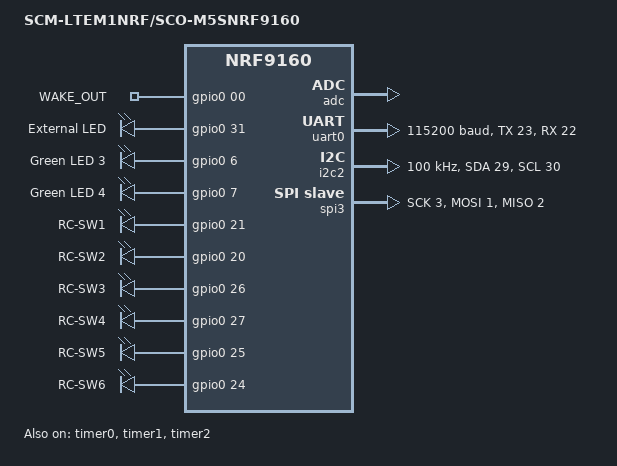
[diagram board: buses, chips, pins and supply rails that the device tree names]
/*
 * Copyright (c) 2018-2020 Nordic Semiconductor ASA
 *
 * SPDX-License-Identifier: Apache-2.0
 */

/ {
	model = "SCM-LTEM1NRF/SCO-M5SNRF9160";
	compatible = "nordic,nrf9160-dk-nrf9160";

	chosen {
		zephyr,console = &uart0;
		zephyr,shell-uart = &uart0;
		zephyr,uart-mcumgr = &uart0;
	};

	leds {
		compatible = "gpio-leds";
		led0: led_0 {
			gpios = <&gpio0 00 0>;
			label = "WAKE_OUT";
		};
		
		/* External LED */
		led1: led_1 {
			gpios = <&gpio0 31 0>;
			label = "External LED";
		};
		/* OnBoard LED ST-A(L) */
		led2: led_2 {
			gpios = <&gpio0 6 0>;
			label = "Green LED 3";
		};
		/* OnBoard LED ST-B(R) */
		led3: led_3 {
			gpios = <&gpio0 7 0>;
			label = "Green LED 4";
		};
		/* RC-SW1 (WAKE_IN) */
		led4: led_4 {
			gpios = <&gpio0 21 0>;
			label = "RC-SW1";
		};
		/* RC-SW2 (WAKE_OUT) */
		led5: led_5 {
			gpios = <&gpio0 20 0>;
			label = "RC-SW2";
		};
		/* RC-SW3 (GPIO_0) */
		led6: led_6 {
			gpios = <&gpio0 26 0>;
			label = "RC-SW3";
		};
		/* RC-SW4 (GPIO_1) */
		led7: led_7 {
			gpios = <&gpio0 27 0>;
			label = "RC-SW4";
		};
		/* RC-SW5 (UART_RST) */
		led8: led_8 {
			gpios = <&gpio0 25 0>;
			label = "RC-SW5";
		};
		/* RC-SW6 (UART_CTS) */
		led9: led_9 {
			gpios = <&gpio0 24 0>;
			label = "RC-SW6";
		};
	};

	/* These aliases are provided for compatibility with samples */
	aliases {
		led0 = &led0;
		led1 = &led1;
		led2 = &led2;
		led3 = &led3;

		led4 = &led4;
		led5 = &led5;
		led6 = &led6;
		led7 = &led7;
		led8 = &led8;
		led9 = &led9;
	};
};

&adc {
	status = "okay";
};

&gpiote {
	status = "okay";
};

&gpio0 {
	status = "okay";
};

&uart0 {
	status = "okay";
	current-speed = <115200>;
	tx-pin = <23>;
	rx-pin = <22>;
/*	rts-pin = <25>; */
/*	cts-pin = <24>; */
};

&i2c2 {
	compatible = "nordic,nrf-twim";
	status = "okay";
	sda-pin = <29>;
	scl-pin = <30>;
	clock-frequency = <100000>;
};

&spi3 {
	compatible = "nordic,nrf-spis";
	status = "okay";
	sck-pin = <3>;
	mosi-pin = <1>;
	miso-pin = <2>;
	csn-pin = <4>;
	def-char = <0x20>;
};

&timer0 {
	status = "okay";
};

&timer1 {
	status = "okay";
};

&timer2 {
	status = "okay";
};

&flash0 {
	/*
	 * For more information, see:
	 * http://docs.zephyrproject.org/latest/guides/dts/index.html#flash-partitions
	 */
	partitions {
		compatible = "fixed-partitions";
		#address-cells = <1>;
		#size-cells = <1>;

		boot_partition: partition@0 {
			label = "mcuboot";
			reg = <0x00000000 0x10000>;
		};
		slot0_partition: partition@10000 {
			label = "image-0";
		};
		slot0_ns_partition: partition@40000 {
			label = "image-0-nonsecure";
		};
		slot1_partition: partition@80000 {
			label = "image-1";
		};
		slot1_ns_partition: partition@b0000 {
			label = "image-1-nonsecure";
		};
		scratch_partition: partition@f0000 {
			label = "image-scratch";
			reg = <0x000f0000 0xa000>;
		};
		storage_partition: partition@fa000 {
			label = "storage";
			reg = <0x000fa000 0x00006000>;
		};
	};
};

/ {

	reserved-memory {
		#address-cells = <1>;
		#size-cells = <1>;
		ranges;

		sram0_s: image_s@20000000 {
			/* Secure image memory */
		};

		sram0_bsd: image_bsd@20010000 {
			/* BSD (shared) memory */
		};

		sram0_ns: image_ns@20020000 {
			/* Non-Secure image memory */
		};
	};
};

/* Include partition configuration file */
#include "scm-ltem1nrf_nrf9160_partition_conf.dts"
